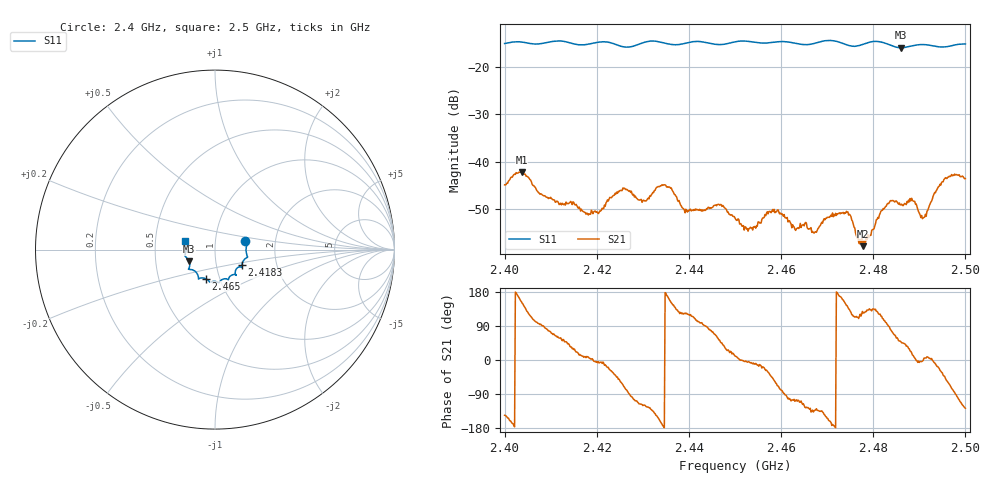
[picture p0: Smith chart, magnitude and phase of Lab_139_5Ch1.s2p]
# Hz S RI R 50
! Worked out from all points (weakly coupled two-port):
!   601 points, 2.4 GHz to 2.5 GHz, reference 50 ohm
!   highest |S21| = -42.16 dB at 2.4037 GHz (marker M1); lowest = -57.8 dB at 2.4778 GHz (marker M2)
!   lowest |S11| = -16.0 dB at 2.486 GHz (marker M3), VSWR 1.38, Z = 37.1 - j4.99 ohm
!   |S11| at or under -10 dB: start of sweep to end of sweep
!   S12 and S22 are empty: the file has one direction only
!   S11 on the Smith chart (normalised r, x): 2.4 GHz: 1.40, +0.13; 2.4183 GHz: 1.33, -0.24; 2.465 GHz: 0.86, -0.29; 2.5 GHz: 0.71, +0.07
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2.4e9  0.169 0.0456  -0.00471 -0.00319  0 0  0 0
2.403667e9  0.1792 0.0291  -0.00698 0.00347  0 0  0 0
2.416667e9  0.1548 -0.0683  0.00309 0.000628  0 0  0 0
2.418333e9  0.1497 -0.0867  0.00281 0.000258  0 0  0 0
2.4255e9  0.1296 -0.0982  0.00229 -0.00439  0 0  0 0
2.430333e9  0.1149 -0.1388  -0.00186 -0.00337  0 0  0 0
2.433333e9  0.1165 -0.1414  -0.00488 -0.00247  0 0  0 0
2.439333e9  0.0769 -0.1591  -0.00168 0.00266  0 0  0 0
2.446667e9  0.0467 -0.1641  0.00211 0.00276  0 0  0 0
2.45e9  0.025 -0.1808  0.0025 0.000465  0 0  0 0
2.453333e9  0.0171 -0.1825  0.00202 -0.00027  0 0  0 0
2.459e9  -0.0237 -0.1805  0.00137 -0.00262  0 0  0 0
2.465e9  -0.0529 -0.1621  -0.00106 -0.00182  0 0  0 0
2.466667e9  -0.0715 -0.1575  -0.00129 -0.00125  0 0  0 0
2.474e9  -0.0957 -0.142  -0.00243 0.00151  0 0  0 0
2.477833e9  -0.1312 -0.1113  -0.000716 0.00107  0 0  0 0
2.483333e9  -0.1419 -0.0958  4.51e-05 0.00361  0 0  0 0
2.486e9  -0.1437 -0.0655  0.00234 0.00263  0 0  0 0
2.4885e9  -0.1601 -0.0433  0.0038 0.000889  0 0  0 0
2.491e9  -0.1673 -0.0332  0.00258 0.000213  0 0  0 0
2.495333e9  -0.1609 0.00865  0.00482 -0.00434  0 0  0 0
2.5e9  -0.1665 0.047  -0.00402 -0.00526  0 0  0 0
